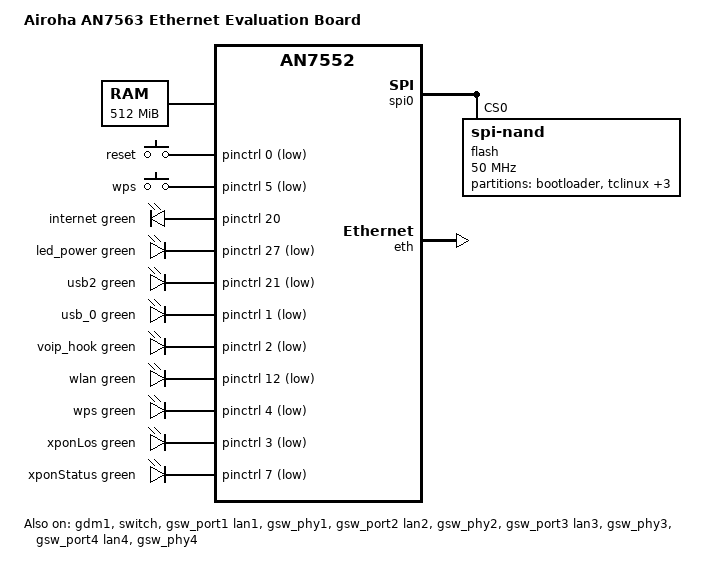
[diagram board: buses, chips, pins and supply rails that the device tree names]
// SPDX-License-Identifier: (GPL-2.0-only OR BSD-2-Clause)
/dts-v1/;

/memreserve/ 0x80000000 0x200000;

#include "an7552.dtsi"

/ {
	model = "Airoha AN7563 Ethernet Evaluation Board";
	compatible = "airoha,an7563-evb", "airoha,an7552";

	aliases {
		serial0 = &uart1;
		led-boot = &led_power;
		led-failsafe = &led_power;
		led-upgrade = &led_power;
		led-running = &led_power;
	};
	
	memory@80000000 {
		device_type = "memory";
		reg = <0x80000000 0x20000000>;
	};

	keys {
		compatible = "gpio-keys-polled";
		poll-interval = <100>;

		reset {
			label = "reset";
			linux,code = <KEY_RESTART>;
			gpios = <&pinctrl 0 GPIO_ACTIVE_LOW>;
			debounce-interval = <60>;
		};

		wps {
			label = "wps";
			linux,code = <KEY_WPS_BUTTON>;
			gpios = <&pinctrl 5 GPIO_ACTIVE_LOW>;
			debounce-interval = <60>;
		};
	};
	
	leds {
		compatible = "gpio-leds";

		internet {
			gpios = <&pinctrl 20 GPIO_ACTIVE_HIGH>;
			color = <LED_COLOR_ID_GREEN>;
			function = LED_FUNCTION_WAN_ONLINE;
			function-enumerator = <20>;
		};

		led_power: power {
			gpios = <&pinctrl 27 GPIO_ACTIVE_LOW>;
			color = <LED_COLOR_ID_GREEN>;
			function = LED_FUNCTION_POWER;
			function-enumerator = <27>;
		};

		usb2 {
			gpios = <&pinctrl 21 GPIO_ACTIVE_LOW>;
			color = <LED_COLOR_ID_GREEN>;
			function = LED_FUNCTION_USB;
			function-enumerator = <21>;
		};

		usb_0 {
			gpios = <&pinctrl 1 GPIO_ACTIVE_LOW>;
			color = <LED_COLOR_ID_GREEN>;
			function = LED_FUNCTION_USB;
			function-enumerator = <1>;
		};

		voip_hook {
			gpios = <&pinctrl 2 GPIO_ACTIVE_LOW>;
			color = <LED_COLOR_ID_GREEN>;
			function = LED_FUNCTION_VOIP;
			function-enumerator = <2>;
		};

		wlan {
			gpios = <&pinctrl 12 GPIO_ACTIVE_LOW>;
			color = <LED_COLOR_ID_GREEN>;
			function = LED_FUNCTION_WLAN;
			function-enumerator = <12>;
		};

		wps {
			gpios = <&pinctrl 4 GPIO_ACTIVE_LOW>;
			color = <LED_COLOR_ID_GREEN>;
			function = LED_FUNCTION_WPS;
			function-enumerator = <4>;
		};

		xponLos {
			gpios = <&pinctrl 3 GPIO_ACTIVE_LOW>;
			color = <LED_COLOR_ID_GREEN>;
			function = LED_FUNCTION_XPON_LOS;
			function-enumerator = <3>;
		};

		xponStatus {
			gpios = <&pinctrl 7 GPIO_ACTIVE_LOW>;
			color = <LED_COLOR_ID_GREEN>;
			function = LED_FUNCTION_XPON;
			function-enumerator = <7>;
		};
	};
};

&spi0 {
	flash@0 {
		reg = <0>;
		compatible = "spi-nand";
		spi-max-frequency = <50000000>;
		spi-tx-bus-width = <1>;
		spi-rx-bus-width = <2>;

		partitions {
			compatible = "fixed-partitions";
			#address-cells = <1>;
			#size-cells = <1>;

			bootloader@0 {
				label = "bootloader";
				reg = <0x00000000 0x00080000>;
				read-only;
			};

			tclinux@80000 {
				label = "tclinux";
				reg = <0x00080000 0x02800000>;
			};

			tclinux_slave@2880000 {
				label = "tclinux_slave";
				reg = <0x02880000 0x02800000>;
			};

			rootfs_data@5080000 {
				label = "rootfs_data";
				reg = <0x05080000 0x00800000>;
			};

			art@de80000 {
				label = "art";
				reg = <0x05880000 0x00380000>;
				read-only;
			};
		};
	};
};

&eth {
	status = "okay";
};

&gdm1 {
	status = "okay";
};

&switch {
	status = "okay";
};

&gsw_port1 {
	label = "lan1";
	status = "okay";
};

&gsw_phy1 {
	status = "okay";
};

&gsw_port2 {
	label = "lan2";
	status = "okay";
};

&gsw_phy2 {
	status = "okay";
};

&gsw_port3 {
	label = "lan3";
	status = "okay";
};

&gsw_phy3 {
	status = "okay";
};

&gsw_port4 {
	label = "lan4";
	status = "okay";
};

&gsw_phy4 {
	status = "okay";
};
